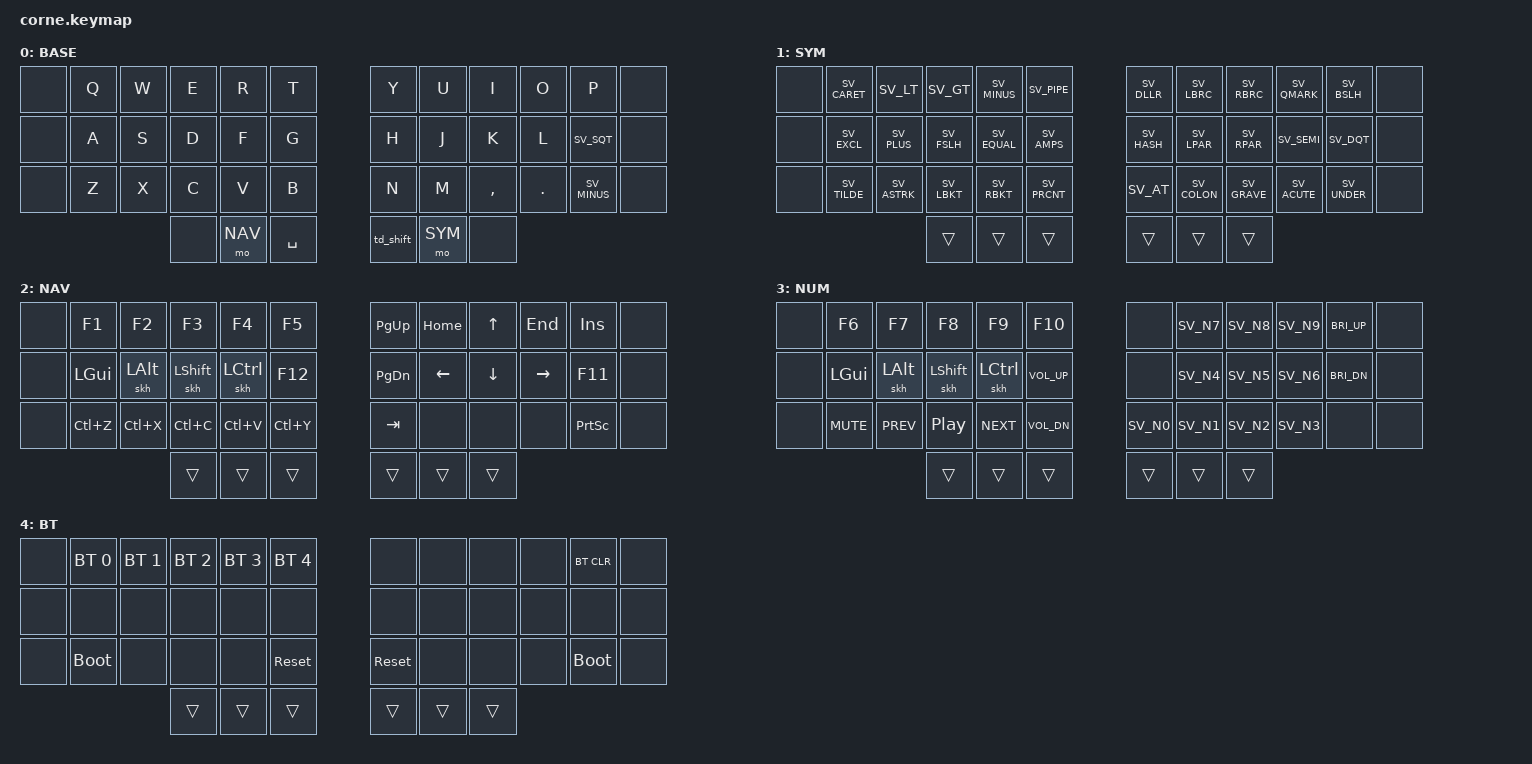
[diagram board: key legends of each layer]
#include <behaviors.dtsi>
#include <dt-bindings/zmk/keys.h>
#include <dt-bindings/zmk/bt.h>
#include <locale/keys_sv.h>

// Release a sticky modifier right after the next key press instead of
// after its release, so rolling into the following key doesn't also
// get shifted. Drop it if no key is pressed within 1.5 s.
&sk {
    quick-release;
    release-after-ms = <1500>;
};

// Key positions (Corne shield numbering):
// Positions 0, 11, 12, 23, 24, 35 are omitted — they map to the
// outer sixth column which the Chocofi does not have (&none padding).
//
// ┌────┬────┬────┬────┬────┐          ┌────┬────┬────┬────┬────┐
// │  1 │  2 │  3 │  4 │  5 │          │  6 │  7 │  8 │  9 │ 10 │
// ├────┼────┼────┼────┼────┤          ├────┼────┼────┼────┼────┤
// │ 13 │ 14 │ 15 │ 16 │ 17 │          │ 18 │ 19 │ 20 │ 21 │ 22 │
// ├────┼────┼────┼────┼────┤          ├────┼────┼────┼────┼────┤
// │ 25 │ 26 │ 27 │ 28 │ 29 │          │ 30 │ 31 │ 32 │ 33 │ 34 │
// └────┴────┴────┼────┼────┼────┐┌────┼────┼────┼────┴────┴────┘
//                │ 36 │ 37 │ 38 ││ 39 │ 40 │ 41 │
//                └────┴────┴────┘└────┴────┴────┘

#define BASE  0
#define SYM   1
#define NAV   2
#define NUM   3
#define BT    4

/ {
    behaviors {
        // Tap = sticky mod, hold = plain mod. A bare &sk held without
        // pressing another key (e.g. shift-click) stays active for
        // release-after-ms after release; this in-repo variant
        // (module/src/behavior_sticky_key_ext.c) releases it on key-up
        // once held for hold-release-ms. Not a hold-tap: an undecided
        // hold-tap captures the next mod's press and resolves its layer
        // only on replay, so lifting NAV early turned it into a base key.
        skh: sticky_key_hold {
            compatible = "zmk,behavior-sticky-key-ext";
            #binding-cells = <1>;
            bindings = <&kp>;
            release-after-ms = <1500>;
            hold-release-ms = <200>;
            quick-release;
            ignore-modifiers;
        };
        // Caps word with Swedish support. Stock &caps_word only shifts
        // HID usages A-Z, so Å/Ä/Ö and - would stay lowercase. This
        // in-repo variant (module/src/behavior_caps_word_ext.c) also
        // shifts the keys in shift-list, which keep caps word active
        // too. The stock continue list's UNDERSCORE is `?` on the
        // Swedish layout, so it is not carried over.
        caps_word_ext: caps_word_ext {
            compatible = "zmk,behavior-caps-word-ext";
            #binding-cells = <0>;
            continue-list = <BACKSPACE DELETE>;
            shift-list = <SV_MINUS SV_A_RING SV_A_UMLAUT SV_O_UMLAUT>;
        };
        td_shift: tap_dance_shift {
            compatible = "zmk,behavior-tap-dance";
            #binding-cells = <0>;
            tapping-term-ms = <200>;
            bindings = <&sk LSHFT>, <&caps_word_ext>, <&kp CAPS>;
        };
    };

    // Combos:
    // ┌───────┬───────┬───────┬───────┬───────┐  ┌───────┬───────┬───────┬───────┬───────┐
    // │       │    ╰─Esc─╯ ╰─Del─╯ ╰─DelW─╯   │  │   ╰BkspW─╯ ╰─Bksp╯ ╰──Å──╯    │       │
    // ├───────┼───────┼───────┼───────┼───────┤  ├───────┼───────┼───────┼───────┼───────┤
    // │       │       │       │       │       │  │       │       │    ╰──Ä──╯    │       │
    // ├───────┼───────┼───────┼───────┼───────┤  ├───────┼───────┼───────┼───────┼───────┤
    // │       │       │    ╰─Tab─╯    │       │  │       │    ╰Enter╯ ╰──Ö──╯    │       │
    // └───────┴───────┴───────┴───────┴───────┘  └───────┴───────┴───────┴───────┴───────┘
    // Hold both outer thumbs (36 + 41) on BASE → BT layer.
    combos {
        compatible = "zmk,combos";
        combo_esc {
            timeout-ms = <50>;
            key-positions = <2 3>;
            bindings = <&kp ESC>;
        };
        combo_bspc {
            timeout-ms = <50>;
            key-positions = <7 8>;
            bindings = <&kp BSPC>;
        };
        combo_tab {
            timeout-ms = <50>;
            key-positions = <27 28>;
            bindings = <&kp TAB>;
        };
        combo_del {
            timeout-ms = <50>;
            key-positions = <3 4>;
            bindings = <&kp DEL>;
        };
        combo_del_word {
            timeout-ms = <50>;
            key-positions = <4 5>;
            bindings = <&kp LC(DEL)>;
        };
        combo_bspc_word {
            timeout-ms = <50>;
            key-positions = <6 7>;
            bindings = <&kp LC(BSPC)>;
        };
        combo_enter {
            timeout-ms = <50>;
            key-positions = <31 32>;
            bindings = <&kp RET>;
        };
        combo_a_ring {
            timeout-ms = <50>;
            key-positions = <8 9>;
            bindings = <&kp SV_A_RING>;
        };
        combo_a_umlaut {
            timeout-ms = <50>;
            key-positions = <20 21>;
            bindings = <&kp SV_A_UMLAUT>;
        };
        combo_o_umlaut {
            timeout-ms = <50>;
            key-positions = <32 33>;
            bindings = <&kp SV_O_UMLAUT>;
        };
        combo_bt {
            timeout-ms = <100>;
            key-positions = <36 41>;
            layers = <BASE>;
            bindings = <&mo BT>;
        };
    };

    conditional_layers {
        compatible = "zmk,conditional-layers";
        num_layer {
            if-layers = <NAV SYM>;
            then-layer = <NUM>;
        };
    };

    keymap {
        compatible = "zmk,keymap";

        base_layer {
            display-name = "BASE";
// ┌────────┬────────┬────────┬────────┬────────┐                    ┌────────┬────────┬────────┬────────┬────────┐
// │   Q    │   W    │   E    │   R    │   T    │                    │   Y    │   U    │   I    │   O    │   P    │
// ├────────┼────────┼────────┼────────┼────────┤                    ├────────┼────────┼────────┼────────┼────────┤
// │   A    │   S    │   D    │   F    │   G    │                    │   H    │   J    │   K    │   L    │   '    │
// ├────────┼────────┼────────┼────────┼────────┤                    ├────────┼────────┼────────┼────────┼────────┤
// │   Z    │   X    │   C    │   V    │   B    │                    │   N    │   M    │   ,    │   .    │   -    │
// └────────┴────────┴────────┼────────┼────────┼────────┐  ┌────────┼────────┼────────┼────────┴────────┴────────┘
//                            │  (BT)  │  NAV   │  SPC   │  │ SFT/CW │  SYM   │  (BT)  │
//                            └────────┴────────┴────────┘  └────────┴────────┴────────┘
            bindings = <
&none    &kp Q     &kp W     &kp E     &kp R     &kp T              &kp Y     &kp U     &kp I     &kp O     &kp P      &none
&none    &kp A     &kp S     &kp D     &kp F     &kp G              &kp H     &kp J     &kp K     &kp L     &kp SV_SQT &none
&none    &kp Z     &kp X     &kp C     &kp V     &kp B              &kp N     &kp M     &kp COMMA &kp DOT   &kp SV_MINUS &none
                             &none     &mo NAV   &kp SPACE          &td_shift &mo SYM   &none
            >;
        };

        sym_layer {
            display-name = "SYM";
// ┌────────┬────────┬────────┬────────┬────────┐                    ┌────────┬────────┬────────┬────────┬────────┐
// │   ^    │   <    │   >    │   -    │   |    │                    │   $    │   {    │   }    │   ?    │   \    │
// ├────────┼────────┼────────┼────────┼────────┤                    ├────────┼────────┼────────┼────────┼────────┤
// │   !    │   +    │   /    │   =    │   &    │                    │   #    │   (    │   )    │   ;    │   "    │
// ├────────┼────────┼────────┼────────┼────────┤                    ├────────┼────────┼────────┼────────┼────────┤
// │   ~    │   *    │   [    │   ]    │   %    │                    │   @    │   :    │   `    │   ´    │   _    │
// └────────┴────────┴────────┼────────┼────────┼────────┐  ┌────────┼────────┼────────┼────────┴────────┴────────┘
//                            │        │        │        │  │        │ >SYM<  │        │
//                            └────────┴────────┴────────┘  └────────┴────────┴────────┘
            bindings = <
&none    &kp SV_CARET &kp SV_LT &kp SV_GT &kp SV_MINUS &kp SV_PIPE &kp SV_DLLR &kp SV_LBRC &kp SV_RBRC &kp SV_QMARK &kp SV_BSLH &none
&none    &kp SV_EXCL &kp SV_PLUS &kp SV_FSLH &kp SV_EQUAL &kp SV_AMPS &kp SV_HASH &kp SV_LPAR &kp SV_RPAR &kp SV_SEMI &kp SV_DQT &none
&none    &kp SV_TILDE &kp SV_ASTRK &kp SV_LBKT &kp SV_RBKT &kp SV_PRCNT &kp SV_AT &kp SV_COLON &kp SV_GRAVE &kp SV_ACUTE &kp SV_UNDER &none
                             &trans    &trans    &trans             &trans    &trans    &trans
            >;
        };

        nav_layer {
            display-name = "NAV";
// ┌────────┬────────┬────────┬────────┬────────┐                    ┌────────┬────────┬────────┬────────┬────────┐
// │   F1   │   F2   │   F3   │   F4   │   F5   │                    │  PgUp  │  Home  │   ↑    │  End   │  Ins   │
// ├────────┼────────┼────────┼────────┼────────┤                    ├────────┼────────┼────────┼────────┼────────┤
// │ kp GUI │skh ALT │skh SFT │skh CTL │  F12   │                    │  PgDn  │   ←    │   ↓    │   →    │  F11   │
// ├────────┼────────┼────────┼────────┼────────┤                    ├────────┼────────┼────────┼────────┼────────┤
// │  Undo  │  Cut   │  Copy  │ Paste  │  Redo  │                    │  Tab   │        │        │        │ PrtSc  │
// └────────┴────────┴────────┼────────┼────────┼────────┐  ┌────────┼────────┼────────┼────────┴────────┴────────┘
//                            │        │ >NAV<  │        │  │        │        │        │
//                            └────────┴────────┴────────┘  └────────┴────────┴────────┘
            bindings = <
&none    &kp F1    &kp F2    &kp F3    &kp F4    &kp F5             &kp PG_UP &kp HOME  &kp UP    &kp END   &kp INS    &none
&none    &kp LGUI  &skh LALT  &skh LSHFT &skh LCTRL &kp F12   &kp PG_DN &kp LEFT  &kp DOWN  &kp RIGHT &kp F11    &none
&none    &kp LC(Z) &kp LC(X) &kp LC(C) &kp LC(V) &kp LC(Y)         &kp TAB   &none     &none     &none     &kp PSCRN  &none
                             &trans    &trans    &trans             &trans    &trans    &trans
            >;
        };

        num_layer {
            display-name = "NUM";
// ┌────────┬────────┬────────┬────────┬────────┐                    ┌────────┬────────┬────────┬────────┬────────┐
// │   F6   │   F7   │   F8   │   F9   │  F10   │                    │        │   7    │   8    │   9    │ BriUp  │
// ├────────┼────────┼────────┼────────┼────────┤                    ├────────┼────────┼────────┼────────┼────────┤
// │ kp GUI │skh ALT │skh SFT │skh CTL │ VolUp  │                    │        │   4    │   5    │   6    │ BriDn  │
// ├────────┼────────┼────────┼────────┼────────┤                    ├────────┼────────┼────────┼────────┼────────┤
// │  Mute  │  Prev  │  Play  │  Next  │ VolDn  │                    │   0    │   1    │   2    │   3    │        │
// └────────┴────────┴────────┼────────┼────────┼────────┐  ┌────────┼────────┼────────┼────────┴────────┴────────┘
//                            │        │ >NAV<  │        │  │        │ >SYM<  │        │
//                            └────────┴────────┴────────┘  └────────┴────────┴────────┘
            bindings = <
&none    &kp F6    &kp F7    &kp F8    &kp F9    &kp F10            &none     &kp SV_N7 &kp SV_N8 &kp SV_N9 &kp C_BRI_UP &none
&none    &kp LGUI  &skh LALT  &skh LSHFT &skh LCTRL &kp C_VOL_UP &none  &kp SV_N4 &kp SV_N5 &kp SV_N6 &kp C_BRI_DN &none
&none    &kp C_MUTE &kp C_PREV &kp C_PP &kp C_NEXT &kp C_VOL_DN     &kp SV_N0 &kp SV_N1 &kp SV_N2 &kp SV_N3 &none      &none
                             &trans    &trans    &trans             &trans    &trans    &trans
            >;
        };

        bt_layer {
            display-name = "BT";
// ┌────────┬────────┬────────┬────────┬────────┐                    ┌────────┬────────┬────────┬────────┬────────┐
// │  BT 0  │  BT 1  │  BT 2  │  BT 3  │  BT 4  │                    │        │        │        │        │ BT CLR │
// ├────────┼────────┼────────┼────────┼────────┤                    ├────────┼────────┼────────┼────────┼────────┤
// │        │        │        │        │        │                    │        │        │        │        │        │
// ├────────┼────────┼────────┼────────┼────────┤                    ├────────┼────────┼────────┼────────┼────────┤
// │ bootld │        │        │        │  reset │                    │  reset │        │        │        │ bootld │
// └────────┴────────┴────────┼────────┼────────┼────────┐  ┌────────┼────────┼────────┼────────┴────────┴────────┘
//                            │ >(BT)< │        │        │  │        │        │ >(BT)< │
//                            └────────┴────────┴────────┘  └────────┴────────┴────────┘
            bindings = <
&none    &bt BT_SEL 0 &bt BT_SEL 1 &bt BT_SEL 2 &bt BT_SEL 3 &bt BT_SEL 4  &none  &none     &none     &none     &bt BT_CLR &none
&none    &none     &none     &none     &none     &none                     &none  &none     &none     &none     &none      &none
&none    &bootloader &none   &none     &none     &sys_reset                &sys_reset &none &none     &none     &bootloader &none
                             &trans    &trans    &trans                    &trans &trans    &trans
            >;
        };
    };
};
